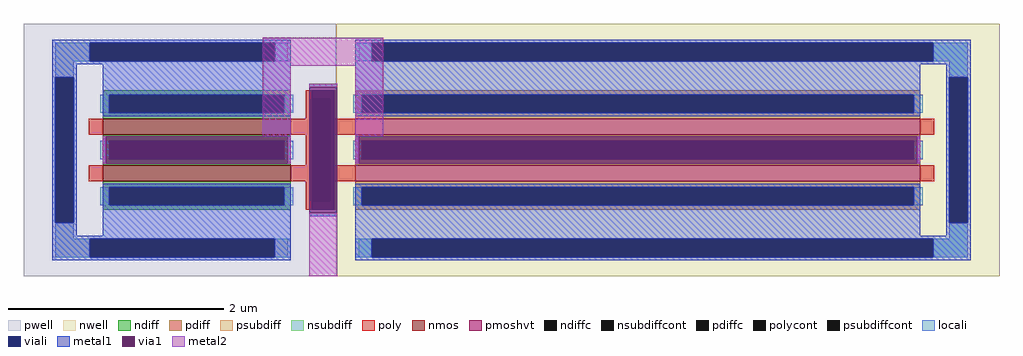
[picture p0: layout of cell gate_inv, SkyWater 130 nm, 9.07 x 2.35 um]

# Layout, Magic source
magic
tech sky130A
magscale 1 2
<< nwell >>
rect 594 0 1827 470
<< pwell >>
rect 13 0 594 470
<< nmos >>
rect 160 263 510 293
rect 160 177 510 207
<< pmoshvt >>
rect 630 263 1680 293
rect 630 177 1680 207
<< ndiff >>
rect 160 338 510 346
rect 160 304 172 338
rect 498 304 510 338
rect 160 293 510 304
rect 160 252 510 263
rect 160 218 172 252
rect 498 218 510 252
rect 160 207 510 218
rect 160 166 510 177
rect 160 132 172 166
rect 498 132 510 166
rect 160 124 510 132
<< pdiff >>
rect 630 338 1680 346
rect 630 304 642 338
rect 1668 304 1680 338
rect 630 293 1680 304
rect 630 252 1680 263
rect 630 218 642 252
rect 1668 218 1680 252
rect 630 207 1680 218
rect 630 166 1680 177
rect 630 132 642 166
rect 1668 132 1680 166
rect 630 124 1680 132
<< ndiffc >>
rect 172 304 498 338
rect 172 218 498 252
rect 172 132 498 166
<< pdiffc >>
rect 642 304 1668 338
rect 642 218 1668 252
rect 642 132 1668 166
<< psubdiff >>
rect 72 400 136 434
rect 480 400 504 434
rect 72 370 106 400
rect 72 70 106 100
rect 72 36 136 70
rect 480 36 504 70
<< nsubdiff >>
rect 636 400 660 434
rect 1704 400 1768 434
rect 1734 370 1768 400
rect 1734 70 1768 100
rect 636 36 660 70
rect 1704 36 1768 70
<< psubdiffcont >>
rect 136 400 480 434
rect 72 100 106 370
rect 136 36 480 70
<< nsubdiffcont >>
rect 660 400 1704 434
rect 1734 100 1768 370
rect 660 36 1704 70
<< poly >>
rect 538 330 592 346
rect 538 293 548 330
rect 134 263 160 293
rect 510 263 548 293
rect 538 207 548 263
rect 134 177 160 207
rect 510 177 548 207
rect 538 140 548 177
rect 582 293 592 330
rect 582 263 630 293
rect 1680 263 1706 293
rect 582 207 592 263
rect 582 177 630 207
rect 1680 177 1706 207
rect 582 140 592 177
rect 538 124 592 140
<< polycont >>
rect 548 140 582 330
<< locali >>
rect 72 400 136 434
rect 480 400 510 434
rect 630 400 660 434
rect 1704 400 1768 434
rect 72 370 106 400
rect 1734 370 1768 400
rect 156 304 172 338
rect 498 304 514 338
rect 548 330 550 346
rect 156 218 172 252
rect 498 218 514 252
rect 156 132 172 166
rect 498 132 514 166
rect 548 124 550 140
rect 590 124 592 346
rect 626 304 642 338
rect 1668 304 1684 338
rect 626 218 642 252
rect 1668 218 1684 252
rect 626 132 642 166
rect 1668 132 1684 166
rect 72 70 106 100
rect 1734 70 1768 100
rect 72 36 136 70
rect 480 36 510 70
rect 630 36 660 70
rect 1704 36 1768 70
<< viali >>
rect 136 400 480 434
rect 660 400 1704 434
rect 72 100 106 370
rect 172 304 498 338
rect 550 330 590 346
rect 172 218 498 252
rect 172 132 498 166
rect 550 140 582 330
rect 582 140 590 330
rect 550 124 590 140
rect 642 304 1668 338
rect 642 218 1668 252
rect 642 132 1668 166
rect 1734 100 1768 370
rect 136 36 480 70
rect 660 36 1704 70
<< metal1 >>
rect 66 434 510 440
rect 66 400 136 434
rect 480 400 510 434
rect 66 394 510 400
rect 66 370 112 394
rect 66 100 72 370
rect 106 100 112 370
rect 160 338 510 394
rect 630 434 1774 440
rect 630 400 660 434
rect 1704 400 1774 434
rect 630 394 1774 400
rect 160 304 172 338
rect 498 304 510 338
rect 160 298 510 304
rect 544 352 596 358
rect 160 209 166 261
rect 504 209 510 261
rect 66 76 112 100
rect 160 166 510 172
rect 160 132 172 166
rect 498 132 510 166
rect 160 76 510 132
rect 630 338 1680 394
rect 630 304 642 338
rect 1668 304 1680 338
rect 630 298 1680 304
rect 1728 370 1774 394
rect 630 209 636 261
rect 1674 209 1680 261
rect 544 112 596 118
rect 630 166 1680 172
rect 630 132 642 166
rect 1668 132 1680 166
rect 66 70 510 76
rect 66 36 136 70
rect 480 36 510 70
rect 66 30 510 36
rect 630 76 1680 132
rect 1728 100 1734 370
rect 1768 100 1774 370
rect 1728 76 1774 100
rect 630 70 1774 76
rect 630 36 660 70
rect 1704 36 1774 70
rect 630 30 1774 36
<< via1 >>
rect 544 346 596 352
rect 166 252 504 261
rect 166 218 172 252
rect 172 218 498 252
rect 498 218 504 252
rect 166 209 504 218
rect 544 124 550 346
rect 550 124 590 346
rect 590 124 596 346
rect 636 252 1674 261
rect 636 218 642 252
rect 642 218 1668 252
rect 1668 218 1674 252
rect 636 209 1674 218
rect 544 118 596 124
<< metal2 >>
rect 458 392 682 444
rect 458 261 510 392
rect 160 209 166 261
rect 504 209 510 261
rect 544 352 596 358
rect 630 261 682 392
rect 630 209 636 261
rect 1674 209 1680 261
rect 544 0 596 118
<< properties >>
string FIXED_BBOX 0 0 1840 470
<< end >>
